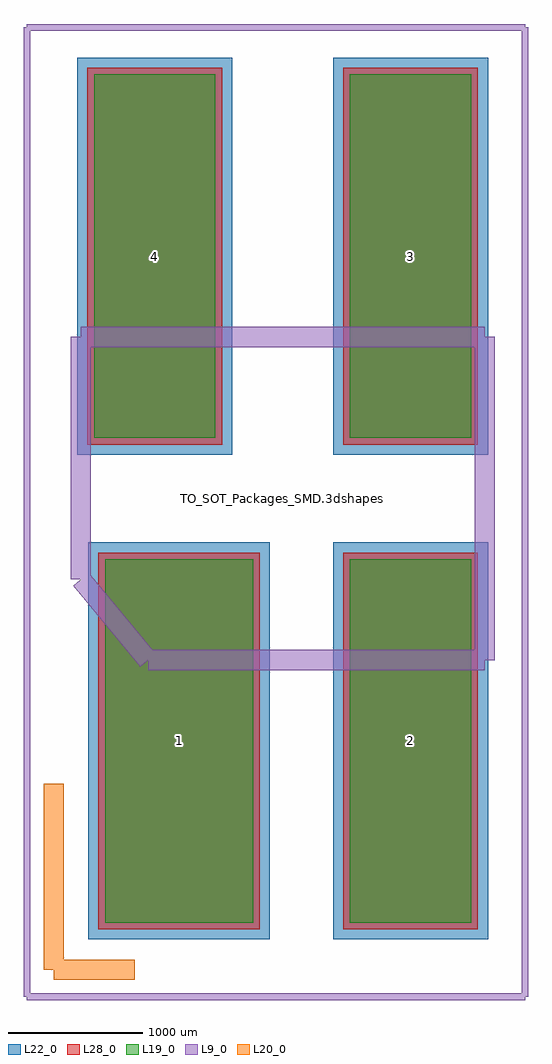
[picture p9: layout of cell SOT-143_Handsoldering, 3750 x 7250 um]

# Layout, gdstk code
import gdstk
lib = gdstk.Library(unit=1e-6, precision=1e-09)
def R(c, l, rs):  # rectangles x0, y0, x1, y1
    for r in rs: c.add(gdstk.rectangle(r[:2], r[2:], *l))
L9_0 = (9, 0)
L19_0 = (19, 0)
L20_0 = (20, 0)
L22_0 = (22, 0)
L28_0 = (28, 0)

sot_143_handsoldering = lib.new_cell('SOT-143_Handsoldering')
R(sot_143_handsoldering, L19_0, [(-1319.06,-3150.4,-220.18,-451.32), (499.58,-3150.4,1400.34,-451.32), (-1400.34,451.32,-499.58,3150.4), (499.58,451.32,1400.34,3150.4)])
R(sot_143_handsoldering, L22_0, [(-1444.06,-3275.4,-95.18,-326.32), (374.58,-3275.4,1525.34,-326.32), (-1525.34,326.32,-374.58,3275.4), (374.58,326.32,1525.34,3275.4)])
R(sot_143_handsoldering, L28_0, [(-1369.06,-3200.4,-170.18,-401.32), (449.58,-3200.4,1450.34,-401.32), (-1450.34,401.32,-449.58,3200.4), (449.58,401.32,1450.34,3200.4)])
sot_143_handsoldering.add(gdstk.FlexPath([(-1700,-3500),(-1100,-3500)], 149.998, ends="flush", simple_path=True, layer=20, datatype=0))  # L20_0
sot_143_handsoldering.add(gdstk.FlexPath([(-1700,-2118.24),(-1700,-3500)], 149.998, ends="flush", simple_path=True, layer=20, datatype=0))  # L20_0
sot_143_handsoldering.add(gdstk.FlexPath([(-1500,1200),(1500,1200)], 149.998, ends="flush", simple_path=True, layer=9, datatype=0))  # L9_0
sot_143_handsoldering.add(gdstk.FlexPath([(1500,1200),(1500,-1200)], 149.998, ends="flush", simple_path=True, layer=9, datatype=0))  # L9_0
sot_143_handsoldering.add(gdstk.FlexPath([(1500,-1200),(-1000,-1200)], 149.998, ends="flush", simple_path=True, layer=9, datatype=0))  # L9_0
sot_143_handsoldering.add(gdstk.FlexPath([(-1500,-600),(-1500,1200)], 149.998, ends="flush", simple_path=True, layer=9, datatype=0))  # L9_0
sot_143_handsoldering.add(gdstk.FlexPath([(-1900,-3700),(1800,-3700)], 50, ends="flush", simple_path=True, layer=9, datatype=0))  # L9_0
sot_143_handsoldering.add(gdstk.FlexPath([(1800,-3700),(1800,3500)], 50, ends="flush", simple_path=True, layer=9, datatype=0))  # L9_0
sot_143_handsoldering.add(gdstk.FlexPath([(1800,3500),(-1900,3500)], 50, ends="flush", simple_path=True, layer=9, datatype=0))  # L9_0
sot_143_handsoldering.add(gdstk.FlexPath([(-1900,3500),(-1900,-3700)], 50, ends="flush", simple_path=True, layer=9, datatype=0))  # L9_0
sot_143_handsoldering.add(gdstk.FlexPath([(-1500,-600),(-1000,-1200)], 149.998, ends="flush", simple_path=True, layer=9, datatype=0))  # L9_0
sot_143_handsoldering.add(gdstk.Label('TO_SOT_Packages_SMD.3dshapes/SOT-143_Handsoldering.wrl', (0,0), layer=12, texttype=0))
sot_143_handsoldering.add(gdstk.Label('4', (-949.96,1800.86), layer=28, texttype=0))
sot_143_handsoldering.add(gdstk.Label('3', (949.96,1800.86), layer=28, texttype=0))
sot_143_handsoldering.add(gdstk.Label('2', (949.96,-1800.86), layer=28, texttype=0))
sot_143_handsoldering.add(gdstk.Label('1', (-769.62,-1800.86), layer=28, texttype=0))
sot_143_handsoldering.add(gdstk.Label('type', (0,-4500), layer=9, texttype=0))
sot_143_handsoldering.add(gdstk.Label('devicename', (0,4200), layer=9, texttype=0))

lib.write_gds('SOT-143_Handsoldering.gds')
